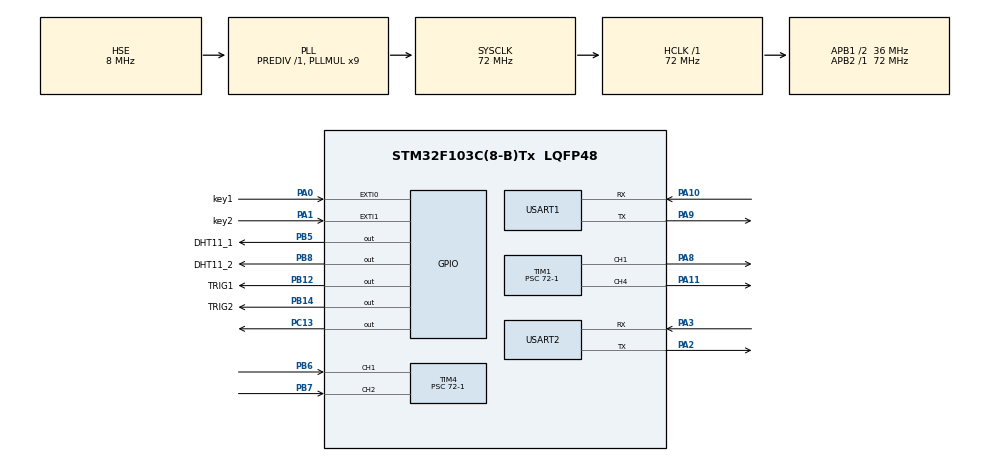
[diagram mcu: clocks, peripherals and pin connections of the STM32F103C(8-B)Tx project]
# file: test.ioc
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Mcu.Family=STM32F1
Mcu.Name=STM32F103C(8-B)Tx
Mcu.Package=LQFP48
NVIC.EXTI0_IRQn=true\:2\:0\:true\:false\:true\:true\:true\:true
NVIC.EXTI1_IRQn=true\:2\:0\:true\:false\:true\:true\:true\:true
NVIC.PriorityGroup=NVIC_PRIORITYGROUP_4
NVIC.TIM2_IRQn=true\:2\:0\:true\:false\:true\:true\:true\:true
NVIC.TIM4_IRQn=true\:2\:0\:true\:false\:true\:true\:true\:true
NVIC.USART1_IRQn=true\:0\:0\:true\:false\:true\:true\:true\:true
PA0-WKUP.GPIO_Label=key1
PA0-WKUP.GPIO_ModeDefaultEXTI=GPIO_MODE_IT_FALLING
PA0-WKUP.GPIO_PuPd=GPIO_PULLUP
PA0-WKUP.Signal=GPXTI0
PA1.GPIO_Label=key2
PA1.GPIO_ModeDefaultEXTI=GPIO_MODE_IT_FALLING
PA1.GPIO_PuPd=GPIO_PULLUP
PA1.Signal=GPXTI1
PA10.Mode=Asynchronous
PA10.Signal=USART1_RX
PA11.Signal=S_TIM1_CH4
PA13.Mode=Serial_Wire
PA13.Signal=SYS_JTMS-SWDIO
PA14.Mode=Serial_Wire
PA14.Signal=SYS_JTCK-SWCLK
PA2.Mode=Asynchronous
PA2.Signal=USART2_TX
PA3.Mode=Asynchronous
PA3.Signal=USART2_RX
PA8.Signal=S_TIM1_CH1
PA9.Mode=Asynchronous
PA9.Signal=USART1_TX
PB12.GPIO_Label=TRIG1
PB12.GPIO_Speed=GPIO_SPEED_FREQ_HIGH
PB12.Signal=GPIO_Output
PB14.GPIO_Label=TRIG2
PB14.GPIO_Speed=GPIO_SPEED_FREQ_HIGH
PB14.Signal=GPIO_Output
PB5.GPIO_Label=DHT11_1
PB5.GPIO_ModeDefaultOutputPP=GPIO_MODE_OUTPUT_OD
PB5.GPIO_PuPd=GPIO_NOPULL
PB5.Signal=GPIO_Output
PB6.Signal=S_TIM4_CH1
PB7.Signal=S_TIM4_CH2
PB8.GPIO_Label=DHT11_2
PB8.GPIO_ModeDefaultOutputPP=GPIO_MODE_OUTPUT_OD
PB8.GPIO_PuPd=GPIO_NOPULL
PB8.Signal=GPIO_Output
PC13-TAMPER-RTC.Signal=GPIO_Output
PC14-OSC32_IN.Mode=LSE-External-Oscillator
PC14-OSC32_IN.Signal=RCC_OSC32_IN
PC15-OSC32_OUT.Mode=LSE-External-Oscillator
PC15-OSC32_OUT.Signal=RCC_OSC32_OUT
PD0-OSC_IN.Mode=HSE-External-Oscillator
PD0-OSC_IN.Signal=RCC_OSC_IN
PD1-OSC_OUT.Mode=HSE-External-Oscillator
PD1-OSC_OUT.Signal=RCC_OSC_OUT
ProjectManager.HeapSize=0x200
ProjectManager.StackSize=0x400
ProjectManager.TargetToolchain=MDK-ARM V5.32
RCC.AHBFreq_Value=72000000
RCC.APB1CLKDivider=RCC_HCLK_DIV2
RCC.APB1Freq_Value=36000000
RCC.APB1TimFreq_Value=72000000
RCC.APB2Freq_Value=72000000
RCC.APB2TimFreq_Value=72000000
RCC.HCLKFreq_Value=72000000
RCC.PLLMUL=RCC_PLL_MUL9
RCC.PLLSourceVirtual=RCC_PLLSOURCE_HSE
RCC.SYSCLKFreq_VALUE=72000000
RCC.SYSCLKSource=RCC_SYSCLKSOURCE_PLLCLK
RCC.USBFreq_Value=72000000
SH.S_TIM1_CH1.0=TIM1_CH1,PWM Generation1 CH1
SH.S_TIM1_CH4.0=TIM1_CH4,PWM Generation4 CH4
SH.S_TIM4_CH1.0=TIM4_CH1,Input_Capture1_from_TI1
SH.S_TIM4_CH2.0=TIM4_CH2,Input_Capture2_from_TI2
TIM1.AutoReloadPreload=TIM_AUTORELOAD_PRELOAD_ENABLE
TIM1.Channel-PWM\ Generation1\ CH1=TIM_CHANNEL_1
TIM1.Channel-PWM\ Generation4\ CH4=TIM_CHANNEL_4
TIM1.Period=20000-1
TIM1.Prescaler=72-1
TIM1.Pulse-PWM\ Generation1\ CH1=1500
TIM1.Pulse-PWM\ Generation4\ CH4=1500
TIM2.Period=1000-1
TIM2.Prescaler=7200-1
TIM4.Channel-Input_Capture1_from_TI1=TIM_CHANNEL_1
TIM4.Channel-Input_Capture2_from_TI2=TIM_CHANNEL_2
TIM4.Prescaler=72-1
USART1.VirtualMode=VM_ASYNC
USART2.VirtualMode=VM_ASYNC
VP_TIM1_VS_ClockSourceINT.Mode=Internal
VP_TIM2_VS_ClockSourceINT.Mode=Internal
VP_TIM4_VS_ClockSourceINT.Mode=Internal
board=custom

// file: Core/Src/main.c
/* USER CODE BEGIN Header */
/**
  ******************************************************************************
  * @file           : main.c
  * @brief          : Main program body
  ******************************************************************************
  * @attention
  *
  * Copyright (c) 2025 STMicroelectronics.
  * All rights reserved.
  *
  * This software is licensed under terms that can be found in the LICENSE file
  * in the root directory of this software component.
  * If no LICENSE file comes with this software, it is provided AS-IS.
  *
  ******************************************************************************
  */
/* USER CODE END Header */
#include "main.h"
#include "tim.h"
#include "usart.h"
#include "gpio.h"

/* USER CODE BEGIN Includes */
#include <stdio.h>
#include "string.h"
#include "dht11.h"
/* USER CODE END Includes */

/* USER CODE BEGIN PD */
#define SERVO_CLOSE_PULSE 500
#define SERVO_OPEN_PULSE  1500
#define open1  "open1"	//垃圾桶1开
#define open2  "open2"	//垃圾桶2开
#define close1  "close1"	//垃圾桶1关
#define close2  "close2"	//垃圾桶2关

#define KEY_DEBOUNCE_MS    20              // 按键消抖时间（ms

uint8_t esp_send_flag = 0; // 标记是否需要发送数据到ESP8266
uint32_t timer_count = 0;

uint8_t uart1RxBuff[128] = {0};
uint16_t uart1RxCounter = 0;
uint8_t uart1RxState = 0;

uint8_t temp1, humi1;	// 第一个DHT11的温湿度
uint8_t temp2, humi2;	// 第二个DHT11的温湿度

Lid_State lid1_state = LID_CLOSED;	//1号垃圾桶开合状态
Lid_State lid2_state = LID_CLOSED;	//2号垃圾听开合状态

Ultrasonic_Capture_t ultra1 = {0, 0, 0.0, 0};
Ultrasonic_Capture_t ultra2 = {0, 0, 0.0, 0};

static uint8_t key1_trigger = 0;// key1中断触发标记
static uint8_t key2_trigger = 0;// key2中断触发标记
static uint32_t key1_tick = 0;  // key1消抖计时
static uint32_t key2_tick = 0;  // key2消抖计时
/* USER CODE END PD */

/* USER CODE BEGIN PV */
extern UART_HandleTypeDef huart2;
/* USER CODE END PV */

void SystemClock_Config(void);
/* USER CODE BEGIN PFP */
void Servo_Control(uint8_t bin_num, uint8_t action);
void Key_Process(void);
/* USER CODE END PFP */

int main(void)
{

  /* MCU Configuration--------------------------------------------------------*/

  /* Reset of all peripherals, Initializes the Flash interface and the Systick. */
  HAL_Init();

  /* Configure the system clock */
  SystemClock_Config();

  /* Initialize all configured peripherals */
  MX_GPIO_Init();
  MX_USART2_UART_Init();
  MX_TIM1_Init();
  MX_TIM2_Init();
  MX_TIM4_Init();
  MX_USART1_UART_Init();
  /* USER CODE BEGIN 2 */
	 __HAL_UART_ENABLE_IT(&huart1, UART_IT_RXNE);
	 HAL_TIM_PWM_Start(&htim1, TIM_CHANNEL_1);
	 HAL_TIM_PWM_Start(&htim1, TIM_CHANNEL_4);
	 HAL_TIM_IC_Start_IT(&htim4, TIM_CHANNEL_1); // 开启CH1捕获中断
	 HAL_TIM_IC_Start_IT(&htim4, TIM_CHANNEL_2); // 开启CH2捕获中断
	 HAL_TIM_Base_Start_IT(&htim2);

	 __HAL_TIM_SET_COMPARE(&htim1, TIM_CHANNEL_1, SERVO_CLOSE_PULSE);
  /* USER CODE END 2 */

  /* Infinite loop */
  while (1)
  {

    /* USER CODE BEGIN 3 */

		Key_Process();	//按键检测

		//向esp32发送数据
		if (esp_send_flag) {
		char state_str[10];

		Ultrasonic_NonBlocking_Read();

//		uint8_t send_data[] = lid1_state;
//		HAL_UART_Transmit(&huart2,send_data2, sizeof(send_data2)-1,100);
		//1号垃圾桶发送数据
		if(lid1_state == LID_CLOSED)
		{
			strcpy(state_str, "close");
		}else
		{
			strcpy(state_str, "open");
		}
		if(DHT11_Read_Data(DHT11_1_GPIO_Port,DHT11_1_Pin,&temp1,&humi1)==1 )
		{
			STM32_To_ESP8266(1, temp1, humi1, ultra1.distance,state_str); // 发送数据
		}

		//2号垃圾桶发送数据
		if(lid2_state == LID_CLOSED)
		{
			strcpy(state_str, "close");
		}else
		{
			strcpy(state_str, "open");
		}
		if(DHT11_Read_Data(DHT11_2_GPIO_Port,DHT11_2_Pin,&temp2,&humi2)==1)
		{
			STM32_To_ESP8266(2, temp2, humi2, ultra2.distance,state_str); // 发送数据
		}

		esp_send_flag = 0; // 清除标志
	  }

		//---接收指令并解析执行-------
		if(uart1RxState==1)
		{
			if(strstr((const char *)uart1RxBuff,open1)!=NULL)
			{
				__HAL_TIM_SET_COMPARE(&htim1, TIM_CHANNEL_1, SERVO_OPEN_PULSE);
				//Servo_Control(1,1);
				uint8_t send_data[] = "garbage1 open";
				HAL_UART_Transmit(&huart1,send_data, sizeof(send_data)-1,100);
				lid1_state = LID_OPENED;
				//HAL_Delay(1000);
			}
			else if(strstr((const char *)uart1RxBuff,close1)!=NULL)
			{
				__HAL_TIM_SET_COMPARE(&htim1, TIM_CHANNEL_1, SERVO_CLOSE_PULSE);
				//Servo_Control(1,0);
				uint8_t send_data[] = "garbage1 close";
				HAL_UART_Transmit(&huart1,send_data, sizeof(send_data)-1,100);
				lid1_state = LID_CLOSED;
				//HAL_Delay(1000);
			}
			else if(strstr((const char *)uart1RxBuff,open2)!=NULL)
			{
				__HAL_TIM_SET_COMPARE(&htim1, TIM_CHANNEL_4, SERVO_OPEN_PULSE);
				//Servo_Control(2,1);
				uint8_t send_data[] = "garbage2 open";
				HAL_UART_Transmit(&huart1,send_data, sizeof(send_data)-1,100);
				lid2_state = LID_OPENED;
				//HAL_Delay(1000);
			}
			else if(strstr((const char *)uart1RxBuff,close2)!=NULL)
			{
				__HAL_TIM_SET_COMPARE(&htim1, TIM_CHANNEL_4, SERVO_CLOSE_PULSE);
				//Servo_Control(2,0);
				uint8_t send_data[] = "garbage2 close";
				HAL_UART_Transmit(&huart1,send_data, sizeof(send_data)-1,100);
				lid2_state = LID_CLOSED;
				//HAL_Delay(1000);
			}

			uart1RxState = 0;
			uart1RxCounter = 0;
			memset(uart1RxBuff, 0, sizeof(uart1RxBuff));
		}
  }
  /* USER CODE END 3 */
}

void SystemClock_Config(void)
{
  RCC_OscInitTypeDef RCC_OscInitStruct = {0};
  RCC_ClkInitTypeDef RCC_ClkInitStruct = {0};

  /** Initializes the RCC Oscillators according to the specified parameters
  * in the RCC_OscInitTypeDef structure.
  */
  RCC_OscInitStruct.OscillatorType = RCC_OSCILLATORTYPE_HSE;
  RCC_OscInitStruct.HSEState = RCC_HSE_ON;
  RCC_OscInitStruct.HSEPredivValue = RCC_HSE_PREDIV_DIV1;
  RCC_OscInitStruct.HSIState = RCC_HSI_ON;
  RCC_OscInitStruct.PLL.PLLState = RCC_PLL_ON;
  RCC_OscInitStruct.PLL.PLLSource = RCC_PLLSOURCE_HSE;
  RCC_OscInitStruct.PLL.PLLMUL = RCC_PLL_MUL9;
  if (HAL_RCC_OscConfig(&RCC_OscInitStruct) != HAL_OK)
  {
    Error_Handler();
  }

  /** Initializes the CPU, AHB and APB buses clocks
  */
  RCC_ClkInitStruct.ClockType = RCC_CLOCKTYPE_HCLK|RCC_CLOCKTYPE_SYSCLK
                              |RCC_CLOCKTYPE_PCLK1|RCC_CLOCKTYPE_PCLK2;
  RCC_ClkInitStruct.SYSCLKSource = RCC_SYSCLKSOURCE_PLLCLK;
  RCC_ClkInitStruct.AHBCLKDivider = RCC_SYSCLK_DIV1;
  RCC_ClkInitStruct.APB1CLKDivider = RCC_HCLK_DIV2;
  RCC_ClkInitStruct.APB2CLKDivider = RCC_HCLK_DIV1;

  if (HAL_RCC_ClockConfig(&RCC_ClkInitStruct, FLASH_LATENCY_2) != HAL_OK)
  {
    Error_Handler();
  }
}

/* USER CODE BEGIN 4 */
//控制舵机函数，bin_num垃圾桶编号, action 1 打开， 0关闭
void Servo_Control(uint8_t bin_num, uint8_t action)
{

	uint16_t pwm_value = 0;
	if (action == 1) {
        pwm_value = SERVO_OPEN_PULSE;   // 打开：90°
    } else {
        pwm_value = SERVO_CLOSE_PULSE;  // 关闭：0°
    }

	switch (bin_num) {
        case 1:
            // 控制1号舵机（PA8/TIM1_CH1）
            __HAL_TIM_SET_COMPARE(&htim1, TIM_CHANNEL_1, pwm_value);
            break;

        case 2:
            // 控制2号舵机（PA11/TIM1_CH4）
            __HAL_TIM_SET_COMPARE(&htim1, TIM_CHANNEL_4, pwm_value);
            break;

        default:
            // 无效编号，直接返回
            return;
    }
	HAL_Delay(300);
}

//void USER_USART1_IRQHandler(void) {
//
//  // 1. 检查接收中断标志（RXNE：接收数据非空）
//  if (__HAL_UART_GET_FLAG(&huart1, UART_FLAG_RXNE) != RESET) {
//    __HAL_UART_ENABLE_IT(&huart1,UART_IT_IDLE);
//		uart1RxBuff[uart1RxCounter]=(uint8_t)(huart1.Instance->DR&(uint8_t)0x00ff);
//		uart1RxCounter++;
//		__HAL_UART_CLEAR_FLAG(&huart1,UART_FLAG_RXNE);
//  }
//
//	if((__HAL_UART_GET_FLAG(&huart1,UART_FLAG_IDLE)!=RESET))
//	{
//		__HAL_UART_DISABLE_IT(&huart1,UART_IT_IDLE);
//		uart1RxState=1;
//	}
//}

void HAL_TIM_PeriodElapsedCallback(TIM_HandleTypeDef *htim) {
  if (htim == &htim2) {

    timer_count++;
    // 每10000ms置位发送标志（TIM2定时周期为100ms）
    if (timer_count >= 100) {
      esp_send_flag = 1;
      timer_count = 0; // 重置计数
    }
  }
}

void delay_us(uint32_t us)
{
    uint32_t ticks = 0;
    uint32_t start = 0;
    uint32_t now = 0;
    uint32_t reload = SysTick->LOAD; // SysTick重载值（72MHz下=71999，对应1ms）

    // 计算需要的SysTick滴答数（72MHz → 1us=72个滴答）
    ticks = us * (SystemCoreClock / 1000000);
    start = SysTick->VAL; // 记录初始SysTick值（递减计数）

    while(1)
    {
        now = SysTick->VAL;
        // 处理SysTick溢出（VAL从0→reload）
        if(now > start)
        {
            if((reload - now + start) >= ticks) break;
        }
        else
        {
            // 核心修正：SysTick递减，差值=start - now（原逻辑写反导致延时不准）
            if((start - now) >= ticks) break;
        }
        __NOP(); // 空操作，允许CPU响应串口中断
    }
}

void Ultrasonic_Trigger(uint8_t num)
{
    if(num == 1)
    {
        // 触发超声波1：10μs高电平
        HAL_GPIO_WritePin(TRIG1_GPIO_Port, TRIG1_Pin, GPIO_PIN_RESET);
        delay_us(2);
        HAL_GPIO_WritePin(TRIG1_GPIO_Port, TRIG1_Pin, GPIO_PIN_SET);
        delay_us(10);
        HAL_GPIO_WritePin(TRIG1_GPIO_Port, TRIG1_Pin, GPIO_PIN_RESET);
    }
    else if(num == 2)
    {
        // 触发超声波2：10μs高电平
        HAL_GPIO_WritePin(TRIG2_GPIO_Port, TRIG2_Pin, GPIO_PIN_RESET);
        delay_us(2);
        HAL_GPIO_WritePin(TRIG2_GPIO_Port, TRIG2_Pin, GPIO_PIN_SET);
        delay_us(10);
        HAL_GPIO_WritePin(TRIG2_GPIO_Port, TRIG2_Pin, GPIO_PIN_RESET);
    }
}

/**
 * @brief  计算超声波距离（基于捕获的计数差）
 */
void Ultrasonic_Calc_Distance(void)
{
    uint32_t time_us = 0;
    float temp_dist = 0.0;

    // ========== 计算超声波1距离 ==========
    if(ultra1.capture_ok)
    {
        // 计算脉冲宽度（μs），处理计数器溢出
        if(ultra1.fall_cnt > ultra1.rise_cnt)
        {
            time_us = ultra1.fall_cnt - ultra1.rise_cnt;
        }
        else
        {
            time_us = (65535 - ultra1.rise_cnt) + ultra1.fall_cnt;
        }

        // 精准公式：距离(cm) = 时间(μs) × 0.017
        temp_dist = time_us * 0.017;
        // 保留一位小数（四舍五入）
        ultra1.distance = (float)((int)(temp_dist * 10 + 0.5)) / 10;

        // 过滤无效值（2.0~400.0cm）
        if(ultra1.distance < 2.0 || ultra1.distance > 400.0)
        {
            ultra1.distance = 0.0;
        }
        ultra1.capture_ok = 0; // 重置标志
    }

    // ========== 计算超声波2距离 ==========
    if(ultra2.capture_ok)
    {
        if(ultra2.fall_cnt > ultra2.rise_cnt)
        {
            time_us = ultra2.fall_cnt - ultra2.rise_cnt;
        }
        else
        {
            time_us = (65535 - ultra2.rise_cnt) + ultra2.fall_cnt;
        }

        temp_dist = time_us * 0.017;
        ultra2.distance = (float)((int)(temp_dist * 10 + 0.5)) / 10;

        if(ultra2.distance < 2.0 || ultra2.distance > 400.0)
        {
            ultra2.distance = 0.0;
        }
        ultra2.capture_ok = 0;
    }
}

/**
 * @brief  非阻塞读取两个超声波（每200ms触发一次）
 */
void Ultrasonic_NonBlocking_Read(void)
{
    static uint32_t ultra_tick = 0;
    if(HAL_GetTick() - ultra_tick >= 200)
    {
        ultra_tick = HAL_GetTick();
        Ultrasonic_Trigger(1); // 触发超声波1
        HAL_Delay(10);         // 间隔避免声波干扰
        Ultrasonic_Trigger(2); // 触发超声波2
        Ultrasonic_Calc_Distance(); // 计算距离
    }
}

// ==================== 函数3：按键中断触发标记（中断中调用） ====================
/**
 * @brief  按键触发标记函数（EXTI中断服务函数中调用）
 * @param  key_num: 按键编号（1=key1/PA0，2=key2/PA1）
 * @retval 无
 */
void Key_Trigger(uint8_t key_num)
{
    if (key_num == 1)
    {
        key1_trigger = 1;
        key1_tick = HAL_GetTick(); // 记录触发时间（用于消抖）
    }
    else if (key_num == 2)
    {
        key2_trigger = 1;
        key2_tick = HAL_GetTick();
    }
}

// ==================== 函数4：按键消抖+舵机控制（主循环调用） ====================
/**
 * @brief  按键消抖和舵机控制处理函数
 * @note   需在main函数的while(1)中循环调用
 * @param  无
 * @retval 无
 */
void Key_Process(void)
{
    // 处理key1（PA0）-控制垃圾桶1
    if (key1_trigger == 1)
    {
        // 非阻塞消抖：间隔超过消抖时间
        if (HAL_GetTick() - key1_tick >= KEY_DEBOUNCE_MS)
        {
            // 二次校验：按键确实按下（引脚为低电平）
            if (HAL_GPIO_ReadPin(key1_GPIO_Port, key1_Pin) == GPIO_PIN_RESET)
            {
                if(lid1_state == LID_CLOSED)
								{
									__HAL_TIM_SET_COMPARE(&htim1, TIM_CHANNEL_1, SERVO_OPEN_PULSE);
									lid1_state = LID_OPENED;
								}else
								{
									__HAL_TIM_SET_COMPARE(&htim1, TIM_CHANNEL_1, SERVO_CLOSE_PULSE);
									lid1_state = LID_CLOSED;
								}
                key1_trigger = 0; // 清除触发标记
                // 调试打印（可选，需开启串口）

            }
        }
    }

    // 处理key2（PA1）-控制垃圾桶2
    if (key2_trigger == 1)
    {
        if (HAL_GetTick() - key2_tick >= KEY_DEBOUNCE_MS)
        {
            if (HAL_GPIO_ReadPin(key2_GPIO_Port, key2_Pin) == GPIO_PIN_RESET)
            {
								if(lid2_state == LID_CLOSED)
								{
									__HAL_TIM_SET_COMPARE(&htim1, TIM_CHANNEL_4, SERVO_OPEN_PULSE);
									lid2_state = LID_OPENED;
								}else
								{
									__HAL_TIM_SET_COMPARE(&htim1, TIM_CHANNEL_4, SERVO_CLOSE_PULSE);
									lid2_state = LID_CLOSED;
								}
                key2_trigger = 0;

            }
        }
    }
}

/* USER CODE END 4 */

void Error_Handler(void)
{
  __disable_irq();
  while (1)
  {
  }
}
